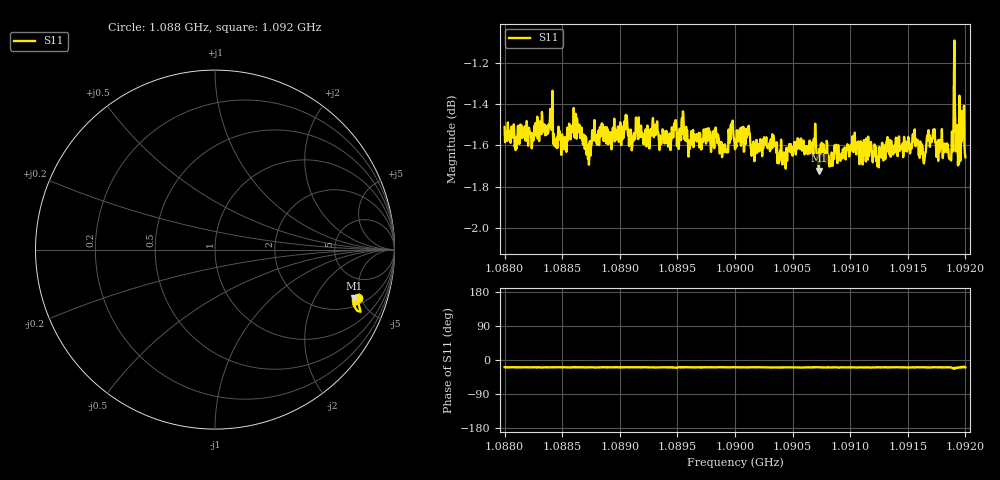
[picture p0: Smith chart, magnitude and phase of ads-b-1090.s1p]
! Calibrated averaged scanner-service zoom
# Hz S RI R 50
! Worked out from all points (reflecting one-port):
!   1001 points, 1.088 GHz to 1.092 GHz, reference 50 ohm
!   lowest |S11| = -1.7 dB at 1.09073 GHz (marker M1), VSWR 10.11, Z = 131 - j218 ohm
!   phase of S11 starts at -19 deg and turns -1 deg over the sweep
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1.088e9  0.7954 -0.2713
1.088324e9  0.7991 -0.2821
1.0885e9  0.791 -0.2734
1.088564e9  0.7918 -0.279
1.088612e9  0.7959 -0.2743
1.088732e9  0.7769 -0.271
1.088848e9  0.7936 -0.2736
1.089e9  0.7896 -0.2783
1.089216e9  0.7894 -0.2739
1.08932e9  0.7895 -0.282
1.089396e9  0.789 -0.2751
1.0895e9  0.7844 -0.2841
1.089576e9  0.7943 -0.2747
1.089648e9  0.7889 -0.2736
1.09e9  0.7833 -0.2742
1.0905e9  0.7793 -0.2768
1.090588e9  0.7839 -0.2842
1.090728e9  0.7739 -0.2712
1.091e9  0.7823 -0.2749
1.091396e9  0.7883 -0.2764
1.0915e9  0.78 -0.2844
1.091724e9  0.793 -0.2745
1.09186e9  0.7792 -0.2729
1.091884e9  0.7855 -0.293
1.091908e9  0.7985 -0.2966
1.091952e9  0.8015 -0.2801
1.091968e9  0.8053 -0.2655
1.092e9  0.7794 -0.2742
